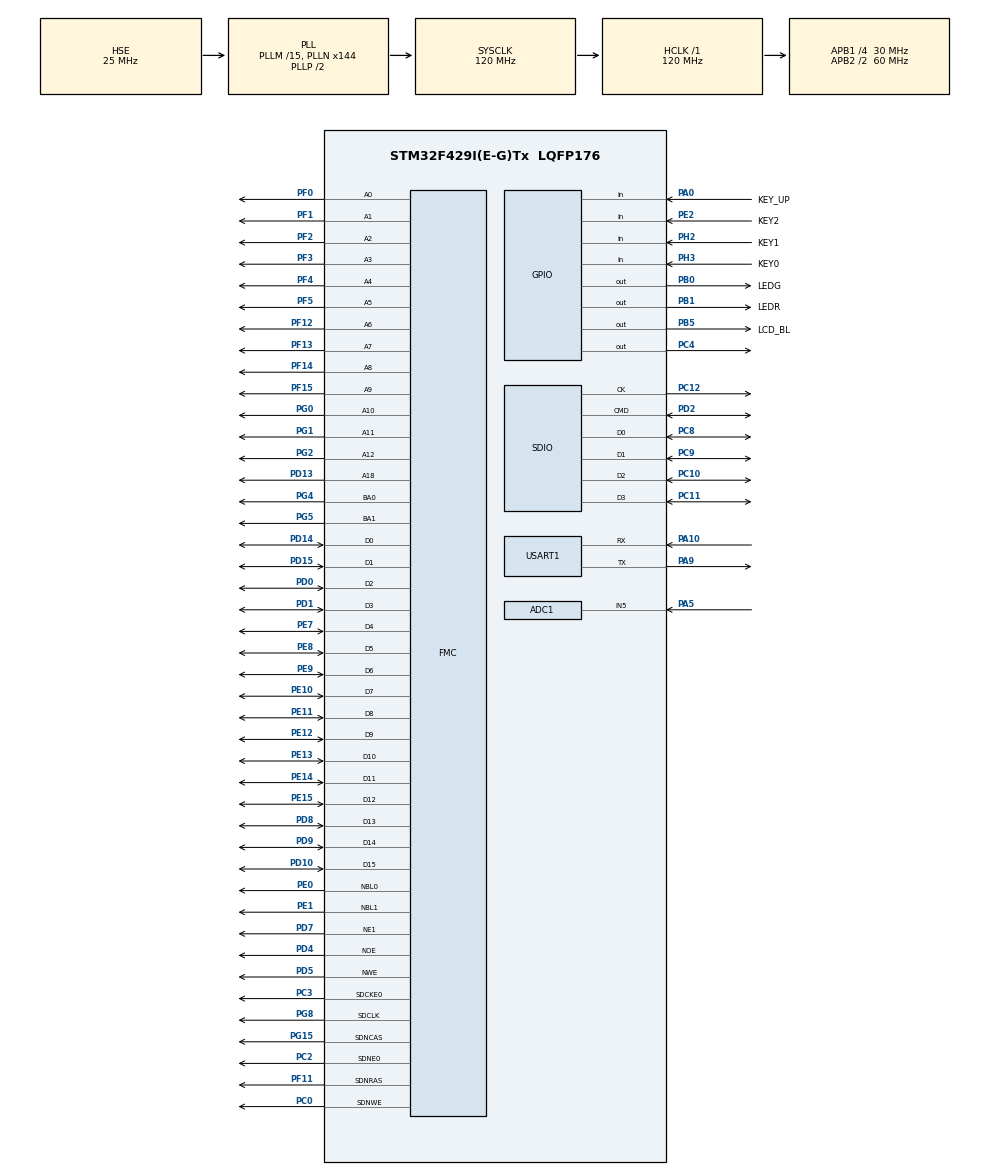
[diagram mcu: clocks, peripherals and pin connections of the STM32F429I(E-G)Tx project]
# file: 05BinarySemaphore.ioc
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ADC1.Channel-0\#ChannelRegularConversion=ADC_CHANNEL_5
ADC1.ExternalTrigConv=ADC_EXTERNALTRIGCONV_T3_TRGO
ADC1.NbrOfConversionFlag=1
ADC1.Rank-0\#ChannelRegularConversion=1
ADC1.SamplingTime-0\#ChannelRegularConversion=ADC_SAMPLETIME_15CYCLES
ADC1.master=1
DMA2D.AlphaModeForeground=DMA2D_REPLACE_ALPHA
DMA2D.ColorMode=DMA2D_OUTPUT_RGB565
DMA2D.InputColorModeBackground=DMA2D_INPUT_RGB565
DMA2D.InputColorModeForeground=DMA2D_INPUT_A4
DMA2D.Mode=DMA2D_M2M_BLEND
Dma.MEMTOMEM.0.Direction=DMA_MEMORY_TO_MEMORY
Dma.MEMTOMEM.0.FIFOMode=DMA_FIFOMODE_ENABLE
Dma.MEMTOMEM.0.FIFOThreshold=DMA_FIFO_THRESHOLD_FULL
Dma.MEMTOMEM.0.Instance=DMA2_Stream0
Dma.MEMTOMEM.0.MemBurst=DMA_MBURST_SINGLE
Dma.MEMTOMEM.0.MemDataAlignment=DMA_MDATAALIGN_HALFWORD
Dma.MEMTOMEM.0.MemInc=DMA_MINC_DISABLE
Dma.MEMTOMEM.0.Mode=DMA_NORMAL
Dma.MEMTOMEM.0.PeriphBurst=DMA_PBURST_SINGLE
Dma.MEMTOMEM.0.PeriphDataAlignment=DMA_PDATAALIGN_HALFWORD
Dma.MEMTOMEM.0.PeriphInc=DMA_PINC_ENABLE
Dma.MEMTOMEM.0.Priority=DMA_PRIORITY_LOW
Dma.Request0=MEMTOMEM
Dma.Request1=SDIO_RX
Dma.Request2=SDIO_TX
Dma.Request3=USART1_RX
Dma.SDIO_RX.1.Direction=DMA_PERIPH_TO_MEMORY
Dma.SDIO_RX.1.FIFOMode=DMA_FIFOMODE_ENABLE
Dma.SDIO_RX.1.FIFOThreshold=DMA_FIFO_THRESHOLD_FULL
Dma.SDIO_RX.1.Instance=DMA2_Stream3
Dma.SDIO_RX.1.MemBurst=DMA_MBURST_INC4
Dma.SDIO_RX.1.MemDataAlignment=DMA_MDATAALIGN_WORD
Dma.SDIO_RX.1.MemInc=DMA_MINC_ENABLE
Dma.SDIO_RX.1.Mode=DMA_PFCTRL
Dma.SDIO_RX.1.PeriphBurst=DMA_PBURST_INC4
Dma.SDIO_RX.1.PeriphDataAlignment=DMA_PDATAALIGN_WORD
Dma.SDIO_RX.1.PeriphInc=DMA_PINC_DISABLE
Dma.SDIO_RX.1.Priority=DMA_PRIORITY_HIGH
Dma.SDIO_TX.2.Direction=DMA_MEMORY_TO_PERIPH
Dma.SDIO_TX.2.FIFOMode=DMA_FIFOMODE_ENABLE
Dma.SDIO_TX.2.FIFOThreshold=DMA_FIFO_THRESHOLD_FULL
Dma.SDIO_TX.2.Instance=DMA2_Stream6
Dma.SDIO_TX.2.MemBurst=DMA_MBURST_INC4
Dma.SDIO_TX.2.MemDataAlignment=DMA_MDATAALIGN_WORD
Dma.SDIO_TX.2.MemInc=DMA_MINC_ENABLE
Dma.SDIO_TX.2.Mode=DMA_PFCTRL
Dma.SDIO_TX.2.PeriphBurst=DMA_PBURST_INC4
Dma.SDIO_TX.2.PeriphDataAlignment=DMA_PDATAALIGN_WORD
Dma.SDIO_TX.2.PeriphInc=DMA_PINC_DISABLE
Dma.SDIO_TX.2.Priority=DMA_PRIORITY_HIGH
Dma.USART1_RX.3.Direction=DMA_PERIPH_TO_MEMORY
Dma.USART1_RX.3.FIFOMode=DMA_FIFOMODE_DISABLE
Dma.USART1_RX.3.Instance=DMA2_Stream2
Dma.USART1_RX.3.MemDataAlignment=DMA_MDATAALIGN_BYTE
Dma.USART1_RX.3.MemInc=DMA_MINC_ENABLE
Dma.USART1_RX.3.Mode=DMA_NORMAL
Dma.USART1_RX.3.PeriphDataAlignment=DMA_PDATAALIGN_BYTE
Dma.USART1_RX.3.PeriphInc=DMA_PINC_DISABLE
Dma.USART1_RX.3.Priority=DMA_PRIORITY_LOW
FATFS._CODE_PAGE=936
FATFS._FS_EXFAT=1
FATFS._FS_LOCK=10
FATFS._FS_REENTRANT=1
FATFS._FS_TINY=1
FATFS._LFN_UNICODE=1
FATFS._MAX_SS=4096
FATFS._USE_LFN=3
FATFS._USE_MUTEX=1
FMC.CASLatency1=FMC_SDRAM_CAS_LATENCY_2
FMC.ColumnBitsNumber1=FMC_SDRAM_COLUMN_BITS_NUM_9
FMC.ExitSelfRefreshDelay1=7
FMC.LoadToActiveDelay1=2
FMC.RPDelay1=2
FMC.RPDelay2=2
FMC.ReadBurst1=FMC_SDRAM_RBURST_ENABLE
FMC.ReadBurst2=FMC_SDRAM_RBURST_ENABLE
FMC.RowCycleDelay1=6
FMC.RowCycleDelay2=6
FMC.SDClockPeriod1=FMC_SDRAM_CLOCK_PERIOD_2
FMC.SDClockPeriod2=FMC_SDRAM_CLOCK_PERIOD_2
FMC.SelfRefreshTime1=4
FMC.WriteRecoveryTime1=2
FREERTOS.BinarySemaphores01=BinarySem_DataReady,Dynamic,NULL,Depleted;token,Dynamic,NULL,Available
FREERTOS.CountingSemaphores01=CountingSem_Table,5,Dynamic,NULL,5
FREERTOS.Events01=xSystemInitEventGroup,Dynamic,NULL
FREERTOS.Tasks01=Task_SYS_INIT,48,1024,AppTask_SYS_INIT,As weak,NULL,Dynamic,NULL,NULL;Task_showADC,8,256,App_Task_showADC,Default,NULL,Dynamic,NULL,NULL;Task_CheckIn,8,512,App_Task_CheckIn,Default,NULL,Dynamic,NULL,NULL;Task_Middle,24,128,App_Task_Middle,Default,NULL,Dynamic,NULL,NULL;Task_Low,8,128,App_Task_Low,Default,NULL,Dynamic,NULL,NULL;Task_High,40,128,App_Task_High,Default,NULL,Dynamic,NULL,NULL
FREERTOS.configGENERATE_RUN_TIME_STATS=1
FREERTOS.configUSE_STATS_FORMATTING_FUNCTIONS=1
Mcu.Family=STM32F4
Mcu.Name=STM32F429I(E-G)Tx
Mcu.Package=LQFP176
NVIC.ADC_IRQn=true\:5\:0\:false\:false\:true\:true\:true\:true\:true
NVIC.DMA2D_IRQn=true\:5\:0\:false\:false\:true\:true\:true\:true\:true
NVIC.DMA2_Stream0_IRQn=true\:5\:0\:false\:false\:true\:true\:true\:true\:true
NVIC.DMA2_Stream2_IRQn=true\:5\:0\:false\:false\:true\:true\:false\:true\:true
NVIC.DMA2_Stream3_IRQn=true\:5\:0\:true\:false\:true\:true\:false\:true\:true
NVIC.DMA2_Stream6_IRQn=true\:5\:0\:false\:false\:true\:true\:false\:true\:true
NVIC.PriorityGroup=NVIC_PRIORITYGROUP_4
NVIC.RTC_WKUP_IRQn=true\:5\:0\:false\:false\:true\:true\:true\:true\:true
NVIC.SDIO_IRQn=true\:5\:0\:false\:false\:true\:true\:true\:true\:true
NVIC.TIM6_DAC_IRQn=true\:4\:0\:true\:false\:true\:false\:false\:true\:true
NVIC.TimeBase=TIM6_DAC_IRQn
NVIC.TimeBaseIP=TIM6
NVIC.USART1_IRQn=true\:5\:0\:false\:false\:true\:true\:true\:true\:true
PA0/WKUP.GPIO_Label=KEY_UP
PA0/WKUP.Signal=GPIO_Input
PA10.Mode=Asynchronous
PA10.Signal=USART1_RX
PA13.Mode=Serial_Wire
PA13.Signal=SYS_JTMS-SWDIO
PA14.Mode=Serial_Wire
PA14.Signal=SYS_JTCK-SWCLK
PA5.Signal=ADCx_IN5
PA9.Mode=Asynchronous
PA9.Signal=USART1_TX
PB0.GPIO_Label=LEDG
PB0.Signal=GPIO_Output
PB1.GPIO_Label=LEDR
PB1.PinState=GPIO_PIN_SET
PB1.Signal=GPIO_Output
PB5.GPIO_Label=LCD_BL
PB5.GPIO_Speed=GPIO_SPEED_FREQ_HIGH
PB5.PinState=GPIO_PIN_SET
PB5.Signal=GPIO_Output
PC0.Signal=FMC_SDNWE
PC10.Mode=SD_4_bits_Wide_bus
PC10.Signal=SDIO_D2
PC11.Mode=SD_4_bits_Wide_bus
PC11.Signal=SDIO_D3
PC12.Mode=SD_4_bits_Wide_bus
PC12.Signal=SDIO_CK
PC14/OSC32_IN.Mode=LSE-External-Oscillator
PC14/OSC32_IN.Signal=RCC_OSC32_IN
PC15/OSC32_OUT.Mode=LSE-External-Oscillator
PC15/OSC32_OUT.Signal=RCC_OSC32_OUT
PC2.Mode=SdramChipSelect1_1
PC2.Signal=FMC_SDNE0
PC3.Mode=SdramChipSelect1_1
PC3.Signal=FMC_SDCKE0
PC4.Signal=GPIO_Output
PC8.Mode=SD_4_bits_Wide_bus
PC8.Signal=SDIO_D0
PC9.Mode=SD_4_bits_Wide_bus
PC9.Signal=SDIO_D1
PD0.Signal=FMC_D2_DA2
PD1.Signal=FMC_D3_DA3
PD10.Signal=FMC_D15_DA15
PD13.Signal=FMC_A18
PD14.Signal=FMC_D0_DA0
PD15.Signal=FMC_D1_DA1
PD2.Mode=SD_4_bits_Wide_bus
PD2.Signal=SDIO_CMD
PD4.Signal=FMC_NOE
PD5.Signal=FMC_NWE
PD7.Mode=NorPsramChipSelect1_1
PD7.Signal=FMC_NE1
PD8.Signal=FMC_D13_DA13
PD9.Signal=FMC_D14_DA14
PE0.Signal=FMC_NBL0
PE1.Signal=FMC_NBL1
PE10.Signal=FMC_D7_DA7
PE11.Signal=FMC_D8_DA8
PE12.Signal=FMC_D9_DA9
PE13.Signal=FMC_D10_DA10
PE14.Signal=FMC_D11_DA11
PE15.Signal=FMC_D12_DA12
PE2.GPIO_Label=KEY2
PE2.Signal=GPIO_Input
PE7.Signal=FMC_D4_DA4
PE8.Signal=FMC_D5_DA5
PE9.Signal=FMC_D6_DA6
PF0.Signal=FMC_A0
PF1.Signal=FMC_A1
PF11.Signal=FMC_SDNRAS
PF12.Signal=FMC_A6
PF13.Signal=FMC_A7
PF14.Signal=FMC_A8
PF15.Signal=FMC_A9
PF2.Signal=FMC_A2
PF3.Signal=FMC_A3
PF4.Signal=FMC_A4
PF5.Signal=FMC_A5
PG0.Signal=FMC_A10
PG1.Signal=FMC_A11
PG15.Signal=FMC_SDNCAS
PG2.Signal=FMC_A12
PG4.Signal=FMC_A14_BA0
PG5.Signal=FMC_A15_BA1
PG8.Signal=FMC_SDCLK
PH0/OSC_IN.Mode=HSE-External-Oscillator
PH0/OSC_IN.Signal=RCC_OSC_IN
PH1/OSC_OUT.Mode=HSE-External-Oscillator
PH1/OSC_OUT.Signal=RCC_OSC_OUT
PH2.GPIO_Label=KEY1
PH2.Signal=GPIO_Input
PH3.GPIO_Label=KEY0
PH3.Signal=GPIO_Input
ProjectManager.HeapSize=0x2000
ProjectManager.StackSize=0x2000
ProjectManager.TargetToolchain=CMake
RCC.48MHZClocksFreq_Value=48000000
RCC.AHBFreq_Value=120000000
RCC.APB1CLKDivider=RCC_HCLK_DIV4
RCC.APB1Freq_Value=30000000
RCC.APB1TimFreq_Value=60000000
RCC.APB2CLKDivider=RCC_HCLK_DIV2
RCC.APB2Freq_Value=60000000
RCC.APB2TimFreq_Value=120000000
RCC.CortexFreq_Value=120000000
RCC.HCLKFreq_Value=120000000
RCC.HSE_VALUE=25000000
RCC.HSI_VALUE=16000000
RCC.PLLM=15
RCC.PLLN=144
RCC.PLLQ=5
RCC.PLLSAIN=100
RCC.PLLSourceVirtual=RCC_PLLSOURCE_HSE
RCC.RCC_RTC_Clock_Source=RCC_RTCCLKSOURCE_LSE
RCC.RCC_RTC_Clock_SourceVirtual=RCC_RTCCLKSOURCE_LSE
RCC.SYSCLKFreq_VALUE=120000000
RCC.SYSCLKSource=RCC_SYSCLKSOURCE_PLLCLK
RCC.VCOOutputFreq_Value=240000000
RTC.WakeUpClock=RTC_WAKEUPCLOCK_CK_SPRE_16BITS
RTC.WakeUpCounter=3
SDIO.ClockDiv=4
SH.ADCx_IN5.0=ADC1_IN5,IN5
SH.FMC_A0.0=FMC_A0,13b-sda1
SH.FMC_A1.0=FMC_A1,13b-sda1
SH.FMC_A10.0=FMC_A10,13b-sda1
SH.FMC_A11.0=FMC_A11,13b-sda1
SH.FMC_A12.0=FMC_A12,13b-sda1
SH.FMC_A14_BA0.0=FMC_BA0,FourSdramBanks1
SH.FMC_A15_BA1.0=FMC_BA1,FourSdramBanks1
SH.FMC_A18.0=FMC_A18,A18_1
SH.FMC_A2.0=FMC_A2,13b-sda1
SH.FMC_A3.0=FMC_A3,13b-sda1
SH.FMC_A4.0=FMC_A4,13b-sda1
SH.FMC_A5.0=FMC_A5,13b-sda1
SH.FMC_A6.0=FMC_A6,13b-sda1
SH.FMC_A7.0=FMC_A7,13b-sda1
SH.FMC_A8.0=FMC_A8,13b-sda1
SH.FMC_A9.0=FMC_A9,13b-sda1
SH.FMC_D0_DA0.0=FMC_D0,16b-d1
SH.FMC_D0_DA0.1=FMC_D0,sd-16b-d1
SH.FMC_D10_DA10.0=FMC_D10,16b-d1
SH.FMC_D10_DA10.1=FMC_D10,sd-16b-d1
SH.FMC_D11_DA11.0=FMC_D11,16b-d1
SH.FMC_D11_DA11.1=FMC_D11,sd-16b-d1
SH.FMC_D12_DA12.0=FMC_D12,16b-d1
SH.FMC_D12_DA12.1=FMC_D12,sd-16b-d1
SH.FMC_D13_DA13.0=FMC_D13,16b-d1
SH.FMC_D13_DA13.1=FMC_D13,sd-16b-d1
SH.FMC_D14_DA14.0=FMC_D14,16b-d1
SH.FMC_D14_DA14.1=FMC_D14,sd-16b-d1
SH.FMC_D15_DA15.0=FMC_D15,16b-d1
SH.FMC_D15_DA15.1=FMC_D15,sd-16b-d1
SH.FMC_D1_DA1.0=FMC_D1,16b-d1
SH.FMC_D1_DA1.1=FMC_D1,sd-16b-d1
SH.FMC_D2_DA2.0=FMC_D2,16b-d1
SH.FMC_D2_DA2.1=FMC_D2,sd-16b-d1
SH.FMC_D3_DA3.0=FMC_D3,16b-d1
SH.FMC_D3_DA3.1=FMC_D3,sd-16b-d1
SH.FMC_D4_DA4.0=FMC_D4,16b-d1
SH.FMC_D4_DA4.1=FMC_D4,sd-16b-d1
SH.FMC_D5_DA5.0=FMC_D5,16b-d1
SH.FMC_D5_DA5.1=FMC_D5,sd-16b-d1
SH.FMC_D6_DA6.0=FMC_D6,16b-d1
SH.FMC_D6_DA6.1=FMC_D6,sd-16b-d1
SH.FMC_D7_DA7.0=FMC_D7,16b-d1
SH.FMC_D7_DA7.1=FMC_D7,sd-16b-d1
SH.FMC_D8_DA8.0=FMC_D8,16b-d1
SH.FMC_D8_DA8.1=FMC_D8,sd-16b-d1
SH.FMC_D9_DA9.0=FMC_D9,16b-d1
SH.FMC_D9_DA9.1=FMC_D9,sd-16b-d1
SH.FMC_NBL0.0=FMC_NBL0,Sd2ByteEnable1
SH.FMC_NBL1.0=FMC_NBL1,Sd2ByteEnable1
SH.FMC_NOE.0=FMC_NOE,Lcd1
SH.FMC_NWE.0=FMC_NWE,Lcd1
SH.FMC_SDCLK.0=FMC_SDCLK,13b-sda1
SH.FMC_SDNCAS.0=FMC_SDNCAS,13b-sda1
SH.FMC_SDNRAS.0=FMC_SDNRAS,13b-sda1
SH.FMC_SDNWE.0=FMC_SDNWE,13b-sda1
TIM3.Period=5000-1
TIM3.Prescaler=6000-1
TIM3.TIM_MasterOutputTrigger=TIM_TRGO_UPDATE
USART1.VirtualMode=VM_ASYNC
VP_DMA2D_VS_DMA2D.Mode=DMA2D_Activate
VP_FATFS_VS_SDIO.Mode=SDIO
VP_FREERTOS_VS_CMSIS_V2.Mode=CMSIS_V2
VP_RTC_VS_RTC_Activate.Mode=RTC_Enabled
VP_RTC_VS_RTC_WakeUp_intern.Mode=WakeUp
VP_SYS_VS_tim6.Mode=TIM6
VP_TIM3_VS_ClockSourceINT.Mode=Internal
board=custom

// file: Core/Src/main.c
/* USER CODE BEGIN Header */
/**
  ******************************************************************************
  * @file           : main.c
  * @brief          : Main program body
  ******************************************************************************
  * @attention
  *
  * Copyright (c) 2026 STMicroelectronics.
  * All rights reserved.
  *
  * This software is licensed under terms that can be found in the LICENSE file
  * in the root directory of this software component.
  * If no LICENSE file comes with this software, it is provided AS-IS.
  *
  ******************************************************************************
  */
/* USER CODE END Header */
#include "main.h"
#include "cmsis_os.h"
#include "adc.h"
#include "dma.h"
#include "dma2d.h"
#include "fatfs.h"
#include "rtc.h"
#include "sdio.h"
#include "tim.h"
#include "usart.h"
#include "gpio.h"
#include "fmc.h"

/* USER CODE BEGIN Includes */
#include "../../ThirdParty/MyLib/myinclude.h"
/* USER CODE END Includes */

void SystemClock_Config(void);
void MX_FREERTOS_Init(void);

int main(void)
{

  /* MCU Configuration--------------------------------------------------------*/

  /* Reset of all peripherals, Initializes the Flash interface and the Systick. */
  HAL_Init();

  /* Configure the system clock */
  SystemClock_Config();

  /* Initialize all configured peripherals */
  MX_GPIO_Init();
  MX_DMA_Init();
  MX_FMC_Init();
  MX_DMA2D_Init();
  MX_SDIO_SD_Init();
  MX_FATFS_Init();
  MX_ADC1_Init();
  MX_TIM3_Init();
  MX_RTC_Init();
  MX_USART1_UART_Init();
  /* USER CODE BEGIN 2 */
  //==============================  初始化 SDRAM  =============================
  SDRAM_InitSequence();
  // ============================= 初始化 LCD 屏幕 =============================
  lcd_init();
  lcd_clear(BLACK);
  lcd_dma2d_init();     // 初始化 DMA2D 缓存模块
  lcd_dma2d_clear(BLACK);

  // ============================= 初始化EUBF =============================
    EUBF_Port_Config_t font_sd_config = {
        .Open     = SD_FastSlot_Open_UTF8,  // 完美的接口匹配！
        .Close    = (void (*)(int8_t))SD_FastSlot_Close, // 强转一下避免警告
        .ReadAt   = SD_FastSlot_Read,       // 完美的参数匹配！
        .RootPath = "0:/"                   // SD卡的根目录
    };
    EUBF_Init(&font_sd_config);

  //============================== 启动ADC1转换 =============================
  HAL_ADC_Start_IT(&hadc1);
  //============================== 启动定时器3 =============================
  HAL_TIM_Base_Start(&htim3);
  /* USER CODE END 2 */

  /* Init scheduler */
  osKernelInitialize();  /* Call init function for freertos objects (in cmsis_os2.c) */
  MX_FREERTOS_Init();

  /* Start scheduler */
  osKernelStart();

  /* We should never get here as control is now taken by the scheduler */

  /* Infinite loop */
  while (1)
  {

  }
}

void SystemClock_Config(void)
{
  RCC_OscInitTypeDef RCC_OscInitStruct = {0};
  RCC_ClkInitTypeDef RCC_ClkInitStruct = {0};

  /** Configure the main internal regulator output voltage
  */
  __HAL_RCC_PWR_CLK_ENABLE();
  __HAL_PWR_VOLTAGESCALING_CONFIG(PWR_REGULATOR_VOLTAGE_SCALE3);

  /** Initializes the RCC Oscillators according to the specified parameters
  * in the RCC_OscInitTypeDef structure.
  */
  RCC_OscInitStruct.OscillatorType = RCC_OSCILLATORTYPE_HSE|RCC_OSCILLATORTYPE_LSE;
  RCC_OscInitStruct.HSEState = RCC_HSE_ON;
  RCC_OscInitStruct.LSEState = RCC_LSE_ON;
  RCC_OscInitStruct.PLL.PLLState = RCC_PLL_ON;
  RCC_OscInitStruct.PLL.PLLSource = RCC_PLLSOURCE_HSE;
  RCC_OscInitStruct.PLL.PLLM = 15;
  RCC_OscInitStruct.PLL.PLLN = 144;
  RCC_OscInitStruct.PLL.PLLP = RCC_PLLP_DIV2;
  RCC_OscInitStruct.PLL.PLLQ = 5;
  if (HAL_RCC_OscConfig(&RCC_OscInitStruct) != HAL_OK)
  {
    Error_Handler();
  }

  /** Initializes the CPU, AHB and APB buses clocks
  */
  RCC_ClkInitStruct.ClockType = RCC_CLOCKTYPE_HCLK|RCC_CLOCKTYPE_SYSCLK
                              |RCC_CLOCKTYPE_PCLK1|RCC_CLOCKTYPE_PCLK2;
  RCC_ClkInitStruct.SYSCLKSource = RCC_SYSCLKSOURCE_PLLCLK;
  RCC_ClkInitStruct.AHBCLKDivider = RCC_SYSCLK_DIV1;
  RCC_ClkInitStruct.APB1CLKDivider = RCC_HCLK_DIV4;
  RCC_ClkInitStruct.APB2CLKDivider = RCC_HCLK_DIV2;

  if (HAL_RCC_ClockConfig(&RCC_ClkInitStruct, FLASH_LATENCY_3) != HAL_OK)
  {
    Error_Handler();
  }
}

void HAL_TIM_PeriodElapsedCallback(TIM_HandleTypeDef *htim)
{
  if (htim->Instance == TIM6)
  {
    HAL_IncTick();
  }
}

void Error_Handler(void)
{
  __disable_irq();
  while (1)
  {
  }
}

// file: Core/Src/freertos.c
/* USER CODE BEGIN Header */
/**
  ******************************************************************************
  * File Name          : freertos.c
  * Description        : Code for freertos applications
  ******************************************************************************
  * @attention
  *
  * Copyright (c) 2026 STMicroelectronics.
  * All rights reserved.
  *
  * This software is licensed under terms that can be found in the LICENSE file
  * in the root directory of this software component.
  * If no LICENSE file comes with this software, it is provided AS-IS.
  *
  ******************************************************************************
  */
/* USER CODE END Header */

#include "FreeRTOS.h"
#include "task.h"
#include "main.h"
#include "cmsis_os.h"

/* USER CODE BEGIN Includes */
#include "../../ThirdParty/MyLib/myinclude.h"
#include "rtc.h"
#include "semphr.h"
#include "event_groups.h"
#include <stdint.h>
#include <stdio.h>

/* USER CODE END Includes */

/* USER CODE BEGIN Variables */
uint32_t adc_value = 0;

/* USER CODE END Variables */
/* Definitions for Task_SYS_INIT */
osThreadId_t Task_SYS_INITHandle;
const osThreadAttr_t Task_SYS_INIT_attributes = {
  .name = "Task_SYS_INIT",
  .stack_size = 1024 * 4,
  .priority = (osPriority_t) osPriorityRealtime,
};
/* Definitions for Task_showADC */
osThreadId_t Task_showADCHandle;
const osThreadAttr_t Task_showADC_attributes = {
  .name = "Task_showADC",
  .stack_size = 256 * 4,
  .priority = (osPriority_t) osPriorityLow,
};
/* Definitions for Task_CheckIn */
osThreadId_t Task_CheckInHandle;
const osThreadAttr_t Task_CheckIn_attributes = {
  .name = "Task_CheckIn",
  .stack_size = 512 * 4,
  .priority = (osPriority_t) osPriorityLow,
};
/* Definitions for Task_Middle */
osThreadId_t Task_MiddleHandle;
const osThreadAttr_t Task_Middle_attributes = {
  .name = "Task_Middle",
  .stack_size = 128 * 4,
  .priority = (osPriority_t) osPriorityNormal,
};
/* Definitions for Task_Low */
osThreadId_t Task_LowHandle;
const osThreadAttr_t Task_Low_attributes = {
  .name = "Task_Low",
  .stack_size = 128 * 4,
  .priority = (osPriority_t) osPriorityLow,
};
/* Definitions for Task_High */
osThreadId_t Task_HighHandle;
const osThreadAttr_t Task_High_attributes = {
  .name = "Task_High",
  .stack_size = 128 * 4,
  .priority = (osPriority_t) osPriorityHigh,
};
/* Definitions for BinarySem_DataReady */
osSemaphoreId_t BinarySem_DataReadyHandle;
const osSemaphoreAttr_t BinarySem_DataReady_attributes = {
  .name = "BinarySem_DataReady"
};
/* Definitions for token */
osSemaphoreId_t tokenHandle;
const osSemaphoreAttr_t token_attributes = {
  .name = "token"
};
/* Definitions for CountingSem_Table */
osSemaphoreId_t CountingSem_TableHandle;
const osSemaphoreAttr_t CountingSem_Table_attributes = {
  .name = "CountingSem_Table"
};
/* Definitions for xSystemInitEventGroup */
osEventFlagsId_t xSystemInitEventGroupHandle;
const osEventFlagsAttr_t xSystemInitEventGroup_attributes = {
  .name = "xSystemInitEventGroup"
};

void AppTask_SYS_INIT(void *argument);
void App_Task_showADC(void *argument);
void App_Task_CheckIn(void *argument);
void App_Task_Middle(void *argument);
void App_Task_Low(void *argument);
void App_Task_High(void *argument);

void MX_FREERTOS_Init(void); /* (MISRA C 2004 rule 8.1) */

/* Hook prototypes */
void configureTimerForRunTimeStats(void);
unsigned long getRunTimeCounterValue(void);

/* USER CODE BEGIN 1 */
/* Functions needed when configGENERATE_RUN_TIME_STATS is on */
__weak void configureTimerForRunTimeStats(void)
{

}

__weak unsigned long getRunTimeCounterValue(void)
{
return 0;
}
/* USER CODE END 1 */

void MX_FREERTOS_Init(void) {

  /* Create the semaphores(s) */
  /* creation of BinarySem_DataReady */
  BinarySem_DataReadyHandle = osSemaphoreNew(1, 0, &BinarySem_DataReady_attributes);

  /* creation of token */
  tokenHandle = osSemaphoreNew(1, 1, &token_attributes);

  /* creation of CountingSem_Table */
  CountingSem_TableHandle = osSemaphoreNew(5, 5, &CountingSem_Table_attributes);

  /* Create the thread(s) */
  /* creation of Task_SYS_INIT */
  Task_SYS_INITHandle = osThreadNew(AppTask_SYS_INIT, NULL, &Task_SYS_INIT_attributes);

  /* creation of Task_showADC */
  Task_showADCHandle = osThreadNew(App_Task_showADC, NULL, &Task_showADC_attributes);

  /* creation of Task_CheckIn */
  Task_CheckInHandle = osThreadNew(App_Task_CheckIn, NULL, &Task_CheckIn_attributes);

  /* creation of Task_Middle */
  Task_MiddleHandle = osThreadNew(App_Task_Middle, NULL, &Task_Middle_attributes);

  /* creation of Task_Low */
  Task_LowHandle = osThreadNew(App_Task_Low, NULL, &Task_Low_attributes);

  /* creation of Task_High */
  Task_HighHandle = osThreadNew(App_Task_High, NULL, &Task_High_attributes);

  /* Create the event(s) */
  /* creation of xSystemInitEventGroup */
  xSystemInitEventGroupHandle = osEventFlagsNew(&xSystemInitEventGroup_attributes);

}

__weak void AppTask_SYS_INIT(void *argument)
{
  for(;;)
  {
    osDelay(1);
  }
}

void App_Task_showADC(void *argument)
{
  /* USER CODE BEGIN App_Task_showADC */
  //等待ADC初始化完成、定时器3初始化完成、SD卡挂载完成、EUBF初始化完成、DMA2D初始化完成、LCD初始化完成
  xEventGroupWaitBits(xSystemInitEventGroupHandle,
                        SYSTEM_INIT_EVENT_ADC_READY |
                        SYSTEM_INIT_EVENT_TIM3_READY |
                        SYSTEM_INIT_EVENT_SD_MOUNTED |
                        SYSTEM_INIT_EVENT_EUBF_READY |
                        SYSTEM_INIT_EVENT_DMA2D_READY |
                        SYSTEM_INIT_EVENT_LCD_READY,
                        pdFALSE,
                        pdTRUE,
                        portMAX_DELAY);

  lcd_dma2d_show_eubf_str(0, 64,(char*)"ADC Value:", "ZCOOL QingKe HuangYou", 32, WHITE);
  /* Infinite loop */
  for(;;)
  {
    // 等待数据准备就绪
    if(xSemaphoreTake(BinarySem_DataReadyHandle, portMAX_DELAY) == pdTRUE){
      // 数据已准备好，继续执行
      // 显示ADC值
      char adc_str[16];
      // 格式化输出，保留4位
      snprintf(adc_str, sizeof(adc_str), "%04lu", adc_value);

      lcd_dma2d_fill(0, 64, 160, 98, BLACK);
      lcd_dma2d_show_eubf_str(0, 96,(char*)adc_str, "ZCOOL QingKe HuangYou", 32, WHITE);
      lcd_dma2d_update_screen();
      osDelay(1);
    }
    osDelay(1);

  }
  /* USER CODE END App_Task_showADC */
}

void App_Task_CheckIn(void *argument)
{
  /* USER CODE BEGIN App_Task_CheckIn */
  //等待SD卡挂载完成、EUBF初始化完成、DMA2D初始化完成、LCD初始化完成
  xEventGroupWaitBits(xSystemInitEventGroupHandle,
                        SYSTEM_INIT_EVENT_SD_MOUNTED |
                        SYSTEM_INIT_EVENT_EUBF_READY |
                        SYSTEM_INIT_EVENT_DMA2D_READY |
                        SYSTEM_INIT_EVENT_LCD_READY,
                        pdFALSE,
                        pdTRUE,
                        portMAX_DELAY);

  char temp_str[30];
  UBaseType_t last_count = 0xFFFFFFFF;
  UBaseType_t current_count = 0;

  osDelay(1500);

  sprintf(temp_str, "%lu", uxSemaphoreGetCount(CountingSem_TableHandle));

  // 第一行：Y=32 (0~32)
  lcd_dma2d_show_eubf_str(160, 32, (char*)"TOTAL_TABLE:", "ZCOOL QingKe HuangYou", 25, WHITE);
  // 第二行：Y=64 (32~64)
  lcd_dma2d_show_eubf_str(160, 64, temp_str, "ZCOOL QingKe HuangYou", 32, WHITE);
  // 第三行：Y=96 (64~96)
  lcd_dma2d_show_eubf_str(160, 96, (char*)"AVAILABLE:", "ZCOOL QingKe HuangYou", 32, WHITE);

  // 第一次推送到屏幕
  lcd_dma2d_update_screen();

  /* Infinite loop */
  for(;;)
  {

    // 按键处理
    if(myGetKeyPressStateByID(KEY_UP)){
      // 清除第五行 (占据 128~160)
      lcd_dma2d_fill(160, 128, 320, 160+1, BLACK);

      if(xSemaphoreTake(CountingSem_TableHandle, 100) == pdTRUE){
        lcd_dma2d_show_eubf_str(160, 160, (char*)"CheckIn OK", "ZCOOL QingKe HuangYou", 25, GREEN);
      } else {
        lcd_dma2d_show_eubf_str(160, 160, (char*)"CheckIn Failed", "ZCOOL QingKe HuangYou", 25, RED);
      }
      lcd_dma2d_update_screen();
    }

    // 按需刷新
    current_count = uxSemaphoreGetCount(CountingSem_TableHandle);
    if(current_count != last_count)
    {
      sprintf(temp_str, "%lu", (unsigned long)current_count);

      // 清除第四行 (占据 96~128)
      lcd_dma2d_fill(160, 96, 320, 128+1, BLACK);
      // 绘制第四行数字
      lcd_dma2d_show_eubf_str(160, 128, temp_str, "ZCOOL QingKe HuangYou", 32, WHITE);

      lcd_dma2d_update_screen();
      last_count = current_count;
    }

    osDelay(100);

  }
  /* USER CODE END App_Task_CheckIn */
}

void App_Task_Middle(void *argument)
{
  /* USER CODE BEGIN App_Task_Middle */
  //等待串口1初始化完成
  xEventGroupWaitBits(xSystemInitEventGroupHandle,
                        SYSTEM_INIT_EVENT_USART1_READY,
                        pdFALSE,
                        pdTRUE,
                        portMAX_DELAY);
  /* Infinite loop */
  for(;;)
  {
    printf("MIDDLE IS RUNING...\r\n");
    HAL_Delay(10);
    osDelay(500);
  }
  /* USER CODE END App_Task_Middle */
}

void App_Task_Low(void *argument)
{
  /* USER CODE BEGIN App_Task_Low */
  //等待串口1初始化完成
  xEventGroupWaitBits(xSystemInitEventGroupHandle,
                        SYSTEM_INIT_EVENT_USART1_READY,
                        pdFALSE,
                        pdTRUE,
                        portMAX_DELAY);
  /* Infinite loop */
  for(;;)
  {
    //进入临界区

    if(xSemaphoreTake(tokenHandle,pdMS_TO_TICKS(300)) == pdTRUE){
      // 成功获取到 token，执行临界区代码
      printf("LOW TAKE IT!\r\n");
      HAL_Delay(1000);
      printf("LOW GIVE IT!\r\n");
      HAL_Delay(10);
      xSemaphoreGive(tokenHandle); // 释放 token
    } else {
      // 获取 token 失败，可能被 Task_High 占用

    }
    osDelay(20);
  }
  /* USER CODE END App_Task_Low */
}

void App_Task_High(void *argument)
{
  /* USER CODE BEGIN App_Task_High */
  //等待串口1初始化完成
  xEventGroupWaitBits(xSystemInitEventGroupHandle,
                        SYSTEM_INIT_EVENT_USART1_READY,
                        pdFALSE,
                        pdTRUE,
                        portMAX_DELAY);
  /* Infinite loop */
  for(;;)
  {
    if(xSemaphoreTake(tokenHandle,portMAX_DELAY) == pdTRUE){
      printf("HIGH TAKE IT!\r\n");
      HAL_Delay(10);
      xSemaphoreGive(tokenHandle);
    }
    osDelay(1);
  }
  /* USER CODE END App_Task_High */
}

/* USER CODE BEGIN Application */
void HAL_ADC_ConvCpltCallback(ADC_HandleTypeDef *hadc){
  if(hadc->Instance == ADC1){
    adc_value = HAL_ADC_GetValue(hadc);
    //printf("ADC Conversion Completed!\r\n");
    BaseType_t highter_priority_task_woken = pdFALSE;
    if(BinarySem_DataReadyHandle != NULL){// 确保信号量已创建
      // 释放信号量，通知显示任务数据已准备好
      xSemaphoreGiveFromISR(BinarySem_DataReadyHandle, &highter_priority_task_woken);
      portYIELD_FROM_ISR(highter_priority_task_woken);
    }

  }
}

void HAL_RTCEx_WakeUpTimerEventCallback(RTC_HandleTypeDef *hrtc){
  // 这里可以添加定时器事件处理代码
  //释放计数信号量
  if(CountingSem_TableHandle != NULL){ // 确保信号量已创建
    BaseType_t highter_priority_task_woken = pdFALSE;
    xSemaphoreGiveFromISR(CountingSem_TableHandle, &highter_priority_task_woken);
    portYIELD_FROM_ISR(highter_priority_task_woken);
  }
}
/* USER CODE END Application */
